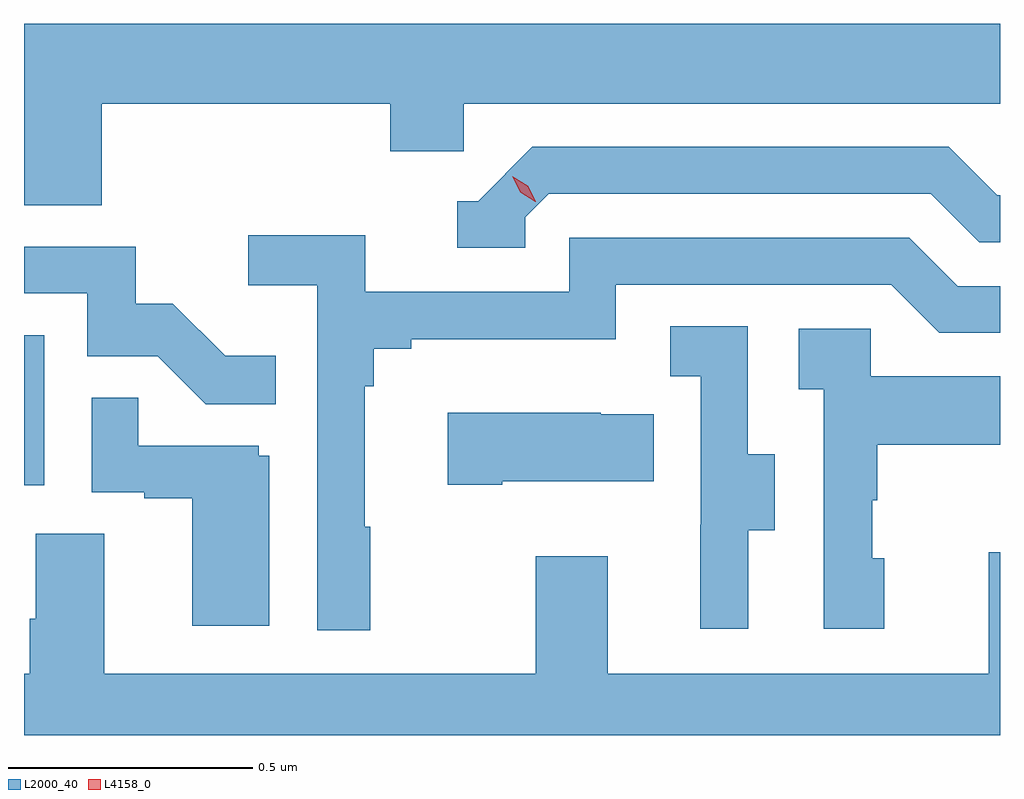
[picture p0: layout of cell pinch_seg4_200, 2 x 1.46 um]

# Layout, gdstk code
import gdstk
lib = gdstk.Library(unit=1e-6, precision=1e-09)
def R(c, l, rs):  # rectangles x0, y0, x1, y1
    for r in rs: c.add(gdstk.rectangle(r[:2], r[2:], *l))
def P(c, l, *ps):  # polygons
    for p in ps: c.add(gdstk.Polygon(p, *l))
L2000_40 = (2000, 40)
L4158_0 = (4158, 0)

pinch_seg4_200 = lib.new_cell('pinch_seg4_200')
R(pinch_seg4_200, L2000_40, [(957.539,825.342,957.58,825.649)])
P(pinch_seg4_200, L2000_40, [(957.698,826.124),(958.289,826.124),(958.289,826.026),(958.44,826.026),(958.44,826.124),(959.539,826.124),(959.539,826.288),(957.539,826.288),(957.539,825.916),(957.698,825.916)],
  [(958.566,825.891),(958.614,825.939),(959.397,825.939),(959.496,825.84),(959.539,825.84),(959.539,825.936),(959.533,825.936),(959.434,826.035),(958.581,826.035),(958.47,825.924),(958.427,825.924),(958.427,825.828),(958.566,825.828)],
  [(958.249,825.257),(958.237,825.257),(958.237,825.545),(958.256,825.545),(958.256,825.622),(958.333,825.622),(958.333,825.641),(958.752,825.641),(958.752,825.753),(959.316,825.753),(959.415,825.654),(959.539,825.654),(959.539,825.75),(959.452,825.75),(959.353,825.849),(958.656,825.849),(958.656,825.738),(958.238,825.738),(958.238,825.854),(957.999,825.854),(957.999,825.752),(958.14,825.752),(958.14,825.045),(958.249,825.045)],
  [(958.055,825.607),(957.951,825.607),(957.844,825.714),(957.768,825.714),(957.768,825.831),(957.539,825.831),(957.539,825.735),(957.669,825.735),(957.669,825.606),(957.813,825.606),(957.911,825.508),(958.055,825.508)],
  [(959.023,825.25),(959.077,825.25),(959.077,825.405),(959.022,825.405),(959.022,825.668),(958.863,825.668),(958.863,825.565),(958.926,825.565),(958.926,825.261),(958.925,825.261),(958.925,825.048),(959.023,825.048)],
  [(959.302,825.192),(959.277,825.192),(959.277,825.311),(959.287,825.311),(959.287,825.425),(959.539,825.425),(959.539,825.565),(959.274,825.565),(959.274,825.663),(959.127,825.663),(959.127,825.539),(959.178,825.539),(959.178,825.048),(959.302,825.048)],
  [(958.042,825.402),(958.02,825.402),(958.02,825.423),(957.773,825.423),(957.773,825.521),(957.678,825.521),(957.678,825.327),(957.785,825.327),(957.785,825.315),(957.884,825.315),(957.884,825.054),(958.042,825.054)],
  [(958.519,825.35),(958.829,825.35),(958.829,825.487),(958.721,825.487),(958.721,825.49),(958.407,825.49),(958.407,825.343),(958.519,825.343)],
  [(959.539,825.205),(959.516,825.205),(959.516,824.956),(958.735,824.956),(958.735,825.196),(958.588,825.196),(958.588,824.956),(957.703,824.956),(957.703,825.242),(957.563,825.242),(957.563,825.068),(957.551,825.068),(957.551,824.956),(957.539,824.956),(957.539,824.829),(959.539,824.829)])
P(pinch_seg4_200, L4158_0, [(958.587,825.923),(958.556,825.942),(958.54,825.975),(958.54,825.975),(958.54,825.975),(958.571,825.956),(958.588,825.924),(958.588,825.923)])

lib.write_gds('pinch_seg4_200.gds')
